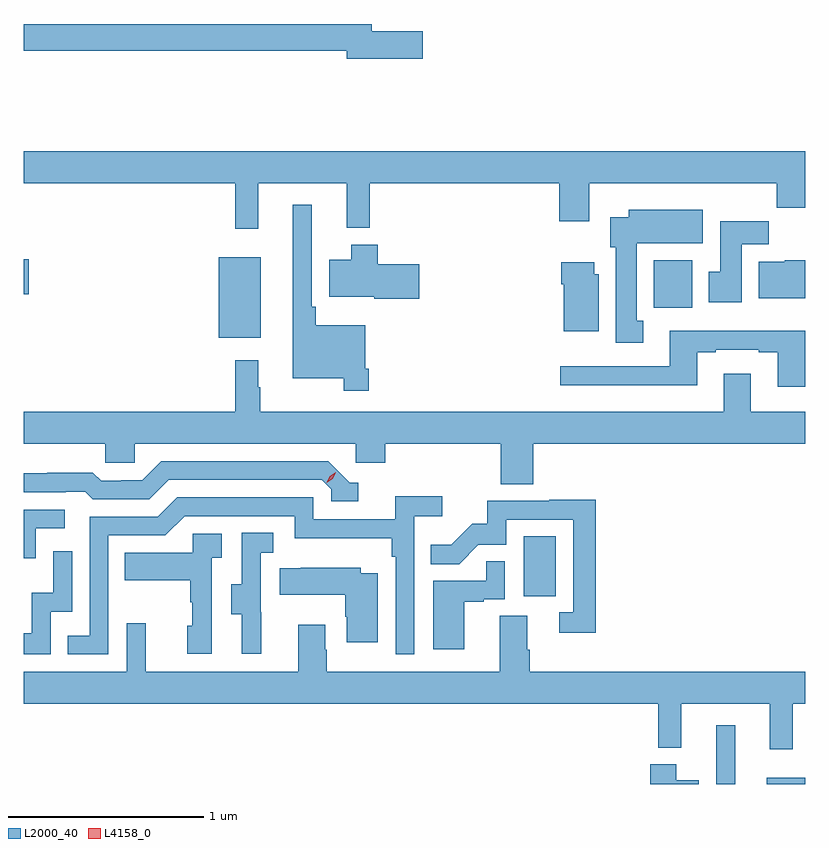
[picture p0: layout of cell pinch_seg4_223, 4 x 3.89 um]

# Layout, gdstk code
import gdstk
lib = gdstk.Library(unit=1e-6, precision=1e-09)
def R(c, l, rs):  # rectangles x0, y0, x1, y1
    for r in rs: c.add(gdstk.rectangle(r[:2], r[2:], *l))
def P(c, l, *ps):  # polygons
    for p in ps: c.add(gdstk.Polygon(p, *l))
L2000_40 = (2000, 40)
L4158_0 = (4158, 0)

pinch_seg4_223 = lib.new_cell('pinch_seg4_223')
R(pinch_seg4_223, L2000_40, [(999.069,821.718,999.166,822.019), (999.329,821.718,999.525,821.749), (998.084,822.678,998.248,822.985), (996.524,824.003,996.739,824.413), (998.75,824.156,998.947,824.398), (995.525,824.225,995.551,824.403)])
P(pinch_seg4_223, L2000_40, [(997.567,825.572),(997.306,825.572),(997.306,825.608),(995.525,825.608),(995.525,825.472),(997.178,825.472),(997.178,825.43),(997.567,825.43)],
  [(996.725,824.792),(997.178,824.792),(997.178,824.564),(997.295,824.564),(997.295,824.792),(998.267,824.792),(998.267,824.598),(998.419,824.598),(998.419,824.792),(999.379,824.792),(999.379,824.668),(999.525,824.668),(999.525,824.956),(995.525,824.956),(995.525,824.792),(996.607,824.792),(996.607,824.559),(996.725,824.559)],
  [(997.292,823.843),(997.272,823.843),(997.272,824.065),(997.019,824.065),(997.019,824.161),(996.999,824.161),(996.999,824.683),(996.902,824.683),(996.902,823.796),(997.164,823.796),(997.164,823.731),(997.292,823.731)],
  [(998.695,824.09),(998.662,824.09),(998.662,824.486),(999.001,824.486),(999.001,824.656),(998.621,824.656),(998.621,824.62),(998.528,824.62),(998.528,824.466),(998.555,824.466),(998.555,823.977),(998.695,823.977)],
  [(999.199,824.48),(999.338,824.48),(999.338,824.598),(999.089,824.598),(999.089,824.34),(999.032,824.34),(999.032,824.184),(999.199,824.184)],
  [(997.549,824.379),(997.337,824.379),(997.337,824.479),(997.202,824.479),(997.202,824.401),(997.088,824.401),(997.088,824.213),(997.32,824.213),(997.32,824.201),(997.549,824.201)],
  [(999.525,824.398),(999.42,824.398),(999.42,824.392),(999.287,824.392),(999.287,824.204),(999.525,824.204)],
  [(998.467,824.328),(998.446,824.328),(998.446,824.389),(998.276,824.389),(998.276,824.276),(998.288,824.276),(998.288,824.036),(998.467,824.036)],
  [(999.525,824.038),(998.831,824.038),(998.831,823.857),(998.271,823.857),(998.271,823.76),(998.971,823.76),(998.971,823.929),(999.067,823.929),(999.067,823.941),(999.287,823.941),(999.287,823.929),(999.383,823.929),(999.383,823.752),(999.525,823.752)],
  [(996.736,823.748),(996.724,823.748),(996.724,823.888),(996.607,823.888),(996.607,823.624),(995.525,823.624),(995.525,823.46),(995.943,823.46),(995.943,823.362),(996.093,823.362),(996.093,823.46),(997.224,823.46),(997.224,823.362),(997.376,823.362),(997.376,823.46),(997.967,823.46),(997.967,823.252),(998.132,823.252),(998.132,823.46),(999.525,823.46),(999.525,823.624),(999.247,823.624),(999.247,823.819),(999.107,823.819),(999.107,823.624),(996.736,823.624)],
  [(997.237,823.26),(997.194,823.26),(997.083,823.371),(996.23,823.371),(996.131,823.272),(996.024,823.272),(996.024,823.269),(995.921,823.269),(995.879,823.312),(995.646,823.312),(995.646,823.309),(995.525,823.309),(995.525,823.212),(995.741,823.212),(995.741,823.215),(995.84,823.215),(995.879,823.176),(996.168,823.176),(996.267,823.275),(997.05,823.275),(997.098,823.227),(997.098,823.164),(997.237,823.164)],
  [(995.958,822.99),(996.249,822.99),(996.348,823.089),(996.912,823.089),(996.912,822.977),(997.408,822.977),(997.408,822.881),(997.428,822.881),(997.428,822.381),(997.524,822.381),(997.524,823.088),(997.666,823.088),(997.666,823.19),(997.427,823.19),(997.427,823.074),(997.008,823.074),(997.008,823.185),(996.311,823.185),(996.212,823.086),(995.862,823.086),(995.862,822.477),(995.749,822.477),(995.749,822.381),(995.958,822.381)],
  [(998.453,823.172),(998.215,823.172),(998.215,823.167),(997.897,823.167),(997.897,823.05),(997.82,823.05),(997.713,822.943),(997.609,822.943),(997.609,822.844),(997.753,822.844),(997.851,822.942),(997.995,822.942),(997.995,823.071),(998.337,823.071),(998.337,822.597),(998.265,822.597),(998.265,822.492),(998.453,822.492)],
  [(995.586,823.026),(995.734,823.026),(995.734,823.122),(995.525,823.122),(995.525,822.873),(995.586,822.873)],
  [(996.74,822.597),(996.738,822.597),(996.738,822.901),(996.802,822.901),(996.802,823.004),(996.642,823.004),(996.642,822.741),(996.587,822.741),(996.587,822.586),(996.641,822.586),(996.641,822.384),(996.74,822.384)],
  [(996.486,822.875),(996.538,822.875),(996.538,822.999),(996.39,822.999),(996.39,822.901),(996.043,822.901),(996.043,822.761),(996.378,822.761),(996.378,822.647),(996.388,822.647),(996.388,822.528),(996.362,822.528),(996.362,822.384),(996.486,822.384)],
  [(995.664,822.6),(995.772,822.6),(995.772,822.91),(995.676,822.91),(995.676,822.698),(995.567,822.698),(995.567,822.49),(995.525,822.49),(995.525,822.381),(995.664,822.381)],
  [(997.78,822.651),(997.88,822.651),(997.88,822.663),(997.986,822.663),(997.986,822.857),(997.891,822.857),(997.891,822.759),(997.622,822.759),(997.622,822.408),(997.78,822.408)],
  [(997.336,822.796),(997.249,822.796),(997.249,822.826),(996.943,822.826),(996.943,822.823),(996.835,822.823),(996.835,822.686),(997.171,822.686),(997.171,822.573),(997.178,822.573),(997.178,822.444),(997.336,822.444)],
  [(999.461,822.128),(999.525,822.128),(999.525,822.292),(998.114,822.292),(998.114,822.404),(998.101,822.404),(998.101,822.578),(997.961,822.578),(997.961,822.292),(997.077,822.292),(997.077,822.404),(997.069,822.404),(997.069,822.532),(996.929,822.532),(996.929,822.292),(996.149,822.292),(996.149,822.541),(996.051,822.541),(996.051,822.292),(995.525,822.292),(995.525,822.128),(998.773,822.128),(998.773,821.903),(998.891,821.903),(998.891,822.128),(999.344,822.128),(999.344,821.895),(999.461,821.895)],
  [(998.98,821.737),(998.866,821.737),(998.866,821.818),(998.732,821.818),(998.732,821.718),(998.98,821.718)])
P(pinch_seg4_223, L4158_0, [(997.075,823.26),(997.075,823.26),(997.091,823.293),(997.121,823.313),(997.122,823.313),(997.122,823.313),(997.106,823.28),(997.075,823.26)])

lib.write_gds('pinch_seg4_223.gds')
